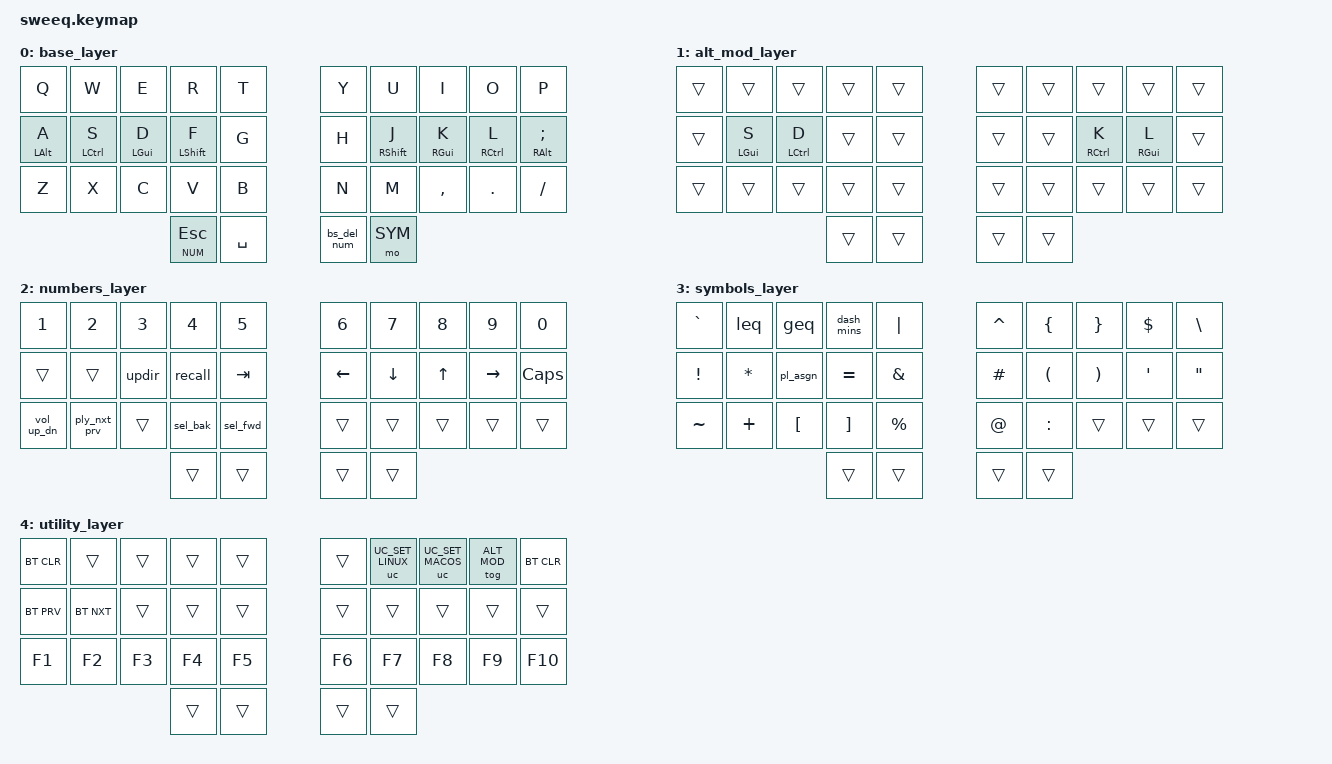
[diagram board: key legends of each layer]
// Copyright 2025 jack@pngu.org
// SPDX-License-Identifier: MIT
#include <behaviors.dtsi>
#include <behaviors/unicode.dtsi>
#include <dt-bindings/zmk/keys.h>
#include <dt-bindings/zmk/bt.h>

#include "zmk-helpers/helper.h"
#include "zmk-helpers/key-labels/34.h"
#include "zmk-unicode/keys-extra.h"

#undef COMBO_TERM
#define COMBO_TERM 50

#define ___ &trans
#define xxx &none

#define SET_MAC UC_SET_MACOS
#define SET_LNX UC_SET_LINUX

#define BASE 0
#define ALT_MOD 1
#define NUM 2
#define SYM 3
#define UTIL 4

ZMK_HOLD_TAP(hrm,
  flavor = "tap-preferred";
  tapping-term-ms = <120>;
  quick-tap-ms = <150>;
  bindings = <&kp>, <&kp>;
)

&uc {
  default-mode = <UC_MODE_LINUX>;
  minimum-length = <0>;
  linux-key = <LC(LS(U))>;
  macos-key = <LALT>;
};

&lt {
  tapping-term-ms = <100>;
};

ZMK_CONDITIONAL_LAYER(tri_layer_util, NUM SYM, UTIL)

ZMK_TAP_DANCE(ply_nxt_prv,
  tapping-term-ms = <200>;
  bindings = <&kp C_PLAY>, <&kp C_NEXT>, <&kp C_PREV>;
)

ZMK_MOD_MORPH(bs_del_num,
  bindings = <&kp BSPC>, <&kp DEL>;
  mods = <(MOD_LSFT|MOD_RSFT)>;
)
ZMK_MOD_MORPH(vol_up_dn,
  bindings = <&kp C_VOL_UP>, <&kp C_VOL_DN>;
  mods = <(MOD_LSFT|MOD_RSFT)>;
)
ZMK_MOD_MORPH(dash_mins,
  bindings = <&kp MINUS>, <&uc UC_EM_DASH>;
  mods = <(MOD_LSFT|MOD_RSFT)>;
)

ZMK_MACRO(updir, bindings = <&kp DOT &kp DOT &kp FSLH>;)
ZMK_MACRO(leq, bindings = <&kp LT &kp EQUAL>;)
ZMK_MACRO(geq, bindings = <&kp GT &kp EQUAL>;)
ZMK_MACRO(pl_asgn, bindings = <&kp PLUS  &kp EQUAL>;)
ZMK_MACRO(recall, bindings = <&kp DLLR  &kp UNDER>;)

ZMK_MACRO(jump_end, bindings = <&macro_tap &kp LA(LEFT) &kp LA(RIGHT)>;)
ZMK_MACRO(sel_prv, bindings = <&macro_tap &kp LS(LA(LEFT))>;)
ZMK_TRI_STATE(sel_bak, bindings = <&jump_end>, <&sel_prv>, <&none>;)

ZMK_MACRO(jump_bgn, bindings = <&macro_tap &kp LA(RIGHT) &kp LA(LEFT)>;)
ZMK_MACRO(sel_nxt, bindings = <&macro_tap &kp LS(LA(RIGHT))>;)
ZMK_TRI_STATE(sel_fwd, bindings = <&jump_bgn>, <&sel_nxt>, <&none>;)

ZMK_COMBO(df_unds, &kp UNDER, LM2 LM1, ALL)
ZMK_COMBO(jk_entr, &kp ENTER, RM1 RM2, ALL)
ZMK_COMBO(fj_cpwd, &caps_word, LM1 RM1, ALL)

ZMK_LAYER(base_layer,
  &kp Q         &kp W         &kp E         &kp R         &kp T             &kp Y         &kp U         &kp I         &kp O         &kp P
  &hrm LALT A   &hrm LCTRL S  &hrm LGUI D   &hrm LSHFT F  &kp G             &kp H         &hrm RSHFT J  &hrm RGUI K   &hrm RCTRL L  &hrm RALT SEMI
  &kp Z         &kp X         &kp C         &kp V         &kp B             &kp N         &kp M         &kp COMMA     &kp DOT       &kp FSLH
                                            &lt NUM ESC   &kp SPACE         &bs_del_num   &mo SYM
)

ZMK_LAYER(alt_mod_layer,
  ___           ___           ___           ___           ___               ___           ___           ___           ___           ___
  ___           &hrm LGUI S   &hrm LCTRL D  ___           ___               ___           ___           &hrm RCTRL K  &hrm RGUI L   ___
  ___           ___           ___           ___           ___               ___           ___           ___           ___           ___
                                            ___           ___               ___           ___
)

ZMK_LAYER(numbers_layer,
  &kp N1        &kp N2        &kp N3        &kp N4        &kp N5            &kp N6        &kp N7        &kp N8        &kp N9        &kp N0
  ___           ___           &updir        &recall       &kp TAB           &kp LEFT      &kp DOWN      &kp UP        &kp RIGHT     &kp CAPS
  &vol_up_dn    &ply_nxt_prv  ___           &sel_bak      &sel_fwd          ___           ___           ___           ___           ___
                                            ___           ___               ___           ___
)

ZMK_LAYER(symbols_layer,
  &kp GRAVE     &leq          &geq          &dash_mins    &kp PIPE          &kp CARET     &kp LBRC      &kp RBRC      &kp DLLR      &kp BSLH
  &kp EXCL      &kp STAR      &pl_asgn      &kp EQUAL     &kp AMPS          &kp HASH      &kp LPAR      &kp RPAR      &kp SQT       &kp DQT
  &kp TILDE     &kp PLUS      &kp LBKT      &kp RBKT      &kp PRCNT         &kp AT        &kp COLON     ___           ___           ___
                                            ___           ___               ___           ___
)

ZMK_LAYER(utility_layer,
  &bt BT_CLR    ___           ___           ___           ___               ___           &uc SET_LNX   &uc SET_MAC   &tog ALT_MOD  &bt BT_CLR
  &bt BT_PRV    &bt BT_NXT    ___           ___           ___               ___           ___           ___           ___           ___
  &kp F1        &kp F2        &kp F3        &kp F4        &kp F5            &kp F6        &kp F7        &kp F8        &kp F9        &kp F10
                                            ___           ___               ___           ___
)
